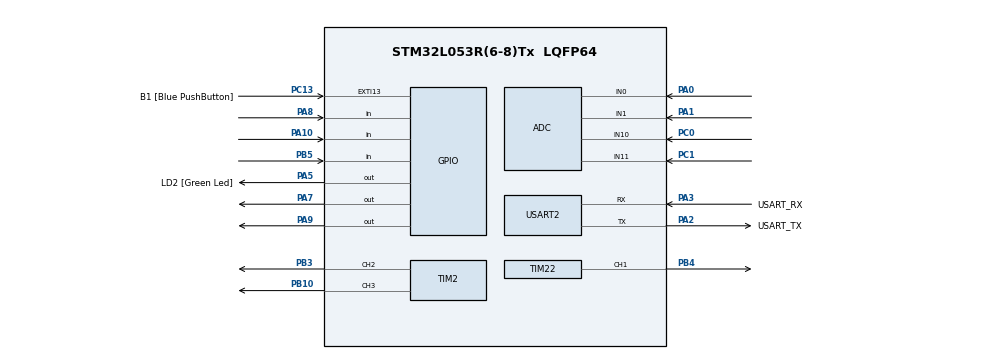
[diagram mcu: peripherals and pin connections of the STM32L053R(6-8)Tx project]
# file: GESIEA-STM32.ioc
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Mcu.Family=STM32L0
Mcu.Name=STM32L053R(6-8)Tx
Mcu.Package=LQFP64
NVIC.EXTI4_15_IRQn=true\:0\:0\:false\:false\:true\:true\:true\:true
NVIC.USART2_IRQn=true\:0\:0\:false\:false\:true\:true\:true\:true
PA0.Signal=SharedAnalog_PA0
PA1.Signal=SharedAnalog_PA1
PA10.Signal=GPIO_Input
PA13.GPIO_Label=TMS
PA13.Mode=Serial_Wire
PA13.Signal=SYS_SWDIO
PA14.GPIO_Label=TCK
PA14.Mode=Serial_Wire
PA14.Signal=SYS_SWCLK
PA2.GPIO_Label=USART_TX
PA2.Mode=Asynchronous
PA2.Signal=USART2_TX
PA3.GPIO_Label=USART_RX
PA3.Mode=Asynchronous
PA3.Signal=USART2_RX
PA5.GPIO_Label=LD2 [Green Led]
PA5.Signal=GPIO_Output
PA7.Signal=GPIO_Output
PA8.Signal=GPIO_Input
PA9.Signal=GPIO_Output
PB10.Signal=S_TIM2_CH3
PB3.Signal=S_TIM2_CH2
PB4.Signal=S_TIM22_CH1
PB5.Signal=GPIO_Input
PC0.Signal=SharedAnalog_PC0
PC1.Signal=SharedAnalog_PC1
PC13.GPIO_Label=B1 [Blue PushButton]
PC13.GPIO_ModeDefaultEXTI=GPIO_MODE_IT_FALLING
PC13.Signal=GPXTI13
PC14-OSC32_IN.Mode=LSE-External-Oscillator
PC14-OSC32_IN.Signal=RCC_OSC32_IN
PC15-OSC32_OUT.Mode=LSE-External-Oscillator
PC15-OSC32_OUT.Signal=RCC_OSC32_OUT
PH0-OSC_IN.Mode=HSE-External-Clock-Source
PH0-OSC_IN.Signal=RCC_OSC_IN
PH1-OSC_OUT.Signal=RCC_OSC_OUT
ProjectManager.HeapSize=0x200
ProjectManager.StackSize=0x400
ProjectManager.TargetToolchain=STM32CubeIDE
RCC.AHBFreq_Value=16000000
RCC.APB1Freq_Value=16000000
RCC.APB1TimFreq_Value=16000000
RCC.APB2Freq_Value=16000000
RCC.APB2TimFreq_Value=16000000
RCC.HCLKFreq_Value=16000000
RCC.HSE_VALUE=8000000
RCC.HSI16_VALUE=16000000
RCC.HSI48_VALUE=48000000
RCC.HSI_VALUE=16000000
RCC.MSI_VALUE=2097000
RCC.SYSCLKFreq_VALUE=16000000
RCC.SYSCLKSource=RCC_SYSCLKSOURCE_HSI
RCC.VCOOutputFreq_Value=48000000
SH.S_TIM22_CH1.0=TIM22_CH1,PWM Generation1 CH1
SH.S_TIM2_CH2.0=TIM2_CH2,PWM Generation2 CH2
SH.S_TIM2_CH3.0=TIM2_CH3,PWM Generation3 CH3
SH.SharedAnalog_PA0.0=GPIO_Analog
SH.SharedAnalog_PA0.1=ADC_IN0,IN0
SH.SharedAnalog_PA1.0=GPIO_Analog
SH.SharedAnalog_PA1.1=ADC_IN1,IN1
SH.SharedAnalog_PC0.0=GPIO_Analog
SH.SharedAnalog_PC0.1=ADC_IN10,IN10
SH.SharedAnalog_PC1.0=GPIO_Analog
SH.SharedAnalog_PC1.1=ADC_IN11,IN11
TIM2.Channel-PWM\ Generation2\ CH2=TIM_CHANNEL_2
TIM2.Channel-PWM\ Generation3\ CH3=TIM_CHANNEL_3
TIM22.Channel-PWM\ Generation1\ CH1=TIM_CHANNEL_1
USART2.VirtualMode-Asynchronous=VM_ASYNC
board=NUCLEO-L053R8

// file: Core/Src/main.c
/* USER CODE BEGIN Header */
/**
  ******************************************************************************
  * @file           : main.c
  * @brief          : Main program body
  ******************************************************************************
  * @attention
  *
  * Copyright (c) 2025 STMicroelectronics.
  * All rights reserved.
  *
  * This software is licensed under terms that can be found in the LICENSE file
  * in the root directory of this software component.
  * If no LICENSE file comes with this software, it is provided AS-IS.
  *
  ******************************************************************************
  */
/* USER CODE END Header */
#include "main.h"
#include "adc.h"
#include "tim.h"
#include "usart.h"
#include "gpio.h"

/* USER CODE BEGIN Includes */
#include "gesiea.h"
#include <stdio.h>
#include <stdlib.h>
#include <string.h>
/* USER CODE END Includes */

/* USER CODE BEGIN PTD */
/**
 * @brief Structure représentant une note musicale.
 */
typedef struct {
    uint32_t frequency;    /**< Fréquence en Hz */
} Note;

/**
 * @brief Structure pour gérer une mélodie en lecture non-bloquante.
 *
 * Cette structure permet de jouer des mélodies sans bloquer l'exécution
 * du programme principal, idéal pour un système temps réel.
 */
typedef struct {
    Note* melody;              /**< Tableau de notes pour la mélodie */
    size_t length;             /**< Longueur de la mélodie */
    size_t currentIndex;       /**< Index de la note en cours */
    uint32_t channels;         /**< Canaux sur lesquels jouer */
    TIM_TypeDef *timer;        /**< Timer à utiliser */
    uint8_t isPlaying;         /**< Indique si une mélodie est en cours */
    uint8_t loopMode;          /**< Indique si la mélodie doit être jouée en boucle */
    uint32_t currentFrequency; /**< Fréquence actuellement jouée */
    uint8_t continuePlaying;   /**< Indique si on doit continuer à jouer sans coupure */
} MelodyPlayer;

/**
 * @brief Structure pour la gestion des LED de victoire.
 *
 * Permet de gérer l'allumage, l'extinction et le clignotement des LED
 * pour indiquer les points marqués et la victoire.
 */
typedef struct {
    GPIO_TypeDef *gpio;     /**< Port GPIO */
    uint32_t pin;           /**< Pin de la LED */
    uint32_t duration;      /**< Durée d'allumage en ticks (4Hz) */
    uint32_t counter;       /**< Compteur de ticks */
    uint8_t isActive;       /**< Indique si la LED est active */
    uint8_t blinkMode;      /**< Indique si la LED doit clignoter */
    uint32_t blinkPeriod;   /**< Période de clignotement en ticks */
    uint8_t blinkState;     /**< État actuel du clignotement (1=allumé, 0=éteint) */
    uint8_t infiniteMode;   /**< Mode infini (1=infini, 0=durée limitée) */
} LEDPlayer;

/**
 * @brief Structure pour le status du jeu.
 *
 * Cette structure contient toutes les données du jeu : positions des raquettes et de la balle,
 * scores, état du jeu, dimensions du terrain, etc.
 */
typedef struct {
    uint16_t grid_width;               /**< Largeur de la grille de jeu */
    uint16_t grid_height;              /**< Hauteur de la grille de jeu */
    uint16_t ball_x;                   /**< Position X de la balle */
    uint16_t ball_y;                   /**< Position Y de la balle */
    int8_t ball_dx;                    /**< Vitesse horizontale de la balle */
    int8_t ball_dy;                    /**< Vitesse verticale de la balle */
    uint8_t initial_ball_velocity;     /**< Vitesse initiale de la balle */
    uint16_t paddle_left_x;            /**< Position X de la raquette gauche */
    uint16_t paddle_left_y;            /**< Position Y de la raquette gauche */
    uint16_t paddle_right_x;           /**< Position X de la raquette droite */
    uint16_t paddle_right_y;           /**< Position Y de la raquette droite */
    uint8_t paddle_left_size;          /**< Taille de la raquette gauche */
    uint8_t paddle_right_size;         /**< Taille de la raquette droite */
    uint8_t paddle_width;              /**< Largeur des raquettes */
    uint8_t ball_size;                 /**< Taille de la balle */
    uint8_t paddle_speed;              /**< Vitesse des raquettes */
    uint8_t status;                    /**< Statut du jeu (NONE, RUNNING, PAUSED, FINISHED) */
    uint8_t max_points;                /**< Nombre de points nécessaires pour gagner */
    uint8_t player1_points;            /**< Points du joueur 1 */
    uint8_t player2_points;            /**< Points du joueur 2 */
    uint16_t left_zone_width;          /**< Largeur de la zone du joueur gauche */
    uint16_t right_zone_width;         /**< Largeur de la zone du joueur droit */
    uint8_t player1_button_state;      /**< État actuel du bouton du joueur 1 */
    uint8_t player1_prev_button_state; /**< État précédent du bouton du joueur 1 */
    uint8_t player1_boost_ready;       /**< Indique si le boost du joueur 1 est prêt */
    uint8_t player1_boost_counter;     /**< Compteur pour le joueur 1 */
    uint8_t player2_button_state;      /**< État actuel du bouton du joueur 2 */
    uint8_t player2_prev_button_state; /**< État précédent du bouton du joueur 2 */
    uint8_t player2_boost_ready;       /**< Indique si le boost du joueur 2 est prêt */
    uint8_t player2_boost_counter;     /**< Compteur pour le joueur 2 */
    uint8_t boost_window;              /**< Fenêtre de temps pour le boost (en ticks) */
    uint8_t boost_factor;              /**< Facteur de boost (en pourcentage) */
    uint16_t tick;                     /**< Compteur de ticks pour le jeu */
} Game;
/* USER CODE END PTD */

/* USER CODE BEGIN PD */
/* Fréquences des notes musicales (en Hz) */
#define NOTE_G3  196.00  /**< Sol3 */
#define NOTE_GS3 207.65  /**< Sol#3/La♭3 */
#define NOTE_A3  220.00  /**< La3 */
#define NOTE_AS3 233.08  /**< La#3/Si♭3 */
#define NOTE_B3  246.94  /**< Si3 */
#define NOTE_C4  261.63  /**< Do4 */
#define NOTE_CS4 277.18  /**< Do#4/Ré♭4 */
#define NOTE_D4  293.66  /**< Ré4 */
#define NOTE_DS4 311.13  /**< Ré#4/Mi♭4 */
#define NOTE_E4  329.63  /**< Mi4 */
#define NOTE_F4  349.23  /**< Fa4 */
#define NOTE_FS4 369.99  /**< Fa#4/Sol♭4 */
#define NOTE_G4  392.00  /**< Sol4 */
#define NOTE_GS4 415.30  /**< Sol#4/La♭4 */
#define NOTE_A4  440.00  /**< La4 */
#define NOTE_AS4 466.16  /**< La#4/Si♭4 */
#define NOTE_B4  493.88  /**< Si4 */
#define NOTE_C5  523.25  /**< Do5 */
#define NOTE_CS5 554.37  /**< Do#5/Ré♭5 */
#define NOTE_D5  587.33  /**< Ré5 */
#define NOTE_DS5 622.25  /**< Ré#5/Mi♭5 */
#define NOTE_E5  659.25  /**< Mi5 */
#define NOTE_F5  698.46  /**< Fa5 */
#define NOTE_FS5 739.99  /**< Fa#5/Sol♭5 */
#define NOTE_G5  783.99  /**< Sol5 */
#define NOTE_GS5 830.61  /**< Sol#5/La♭5 */
#define NOTE_A5  880.00  /**< La5 */
#define NOTE_AS5 932.33  /**< La#5/Si♭5 */
#define NOTE_B5  987.77  /**< Si5 */
#define NOTE_C6  1046.50 /**< Do6 */
#define NOTE_CS6 1108.73 /**< Do#6/Ré♭6 */
#define NOTE_D6  1174.66 /**< Ré6 */
#define NOTE_DS6 1244.51 /**< Ré#6/Mi♭6 */
#define NOTE_E6  1318.51 /**< Mi6 */

/* Status du jeu */
#define GAME_STATUS_NONE 0     /**< Aucun jeu en cours */
#define GAME_STATUS_RUNNING 1  /**< Jeu en cours */
#define GAME_STATUS_PAUSED 2   /**< Jeu en pause */
#define GAME_STATUS_FINISHED 3 /**< Jeu terminé */

/* Définitions des broches et périphériques */
#define MUSIC_TIM TIM22                         /**< Timer pour la musique */
#define MUSIC_CHANNEL LL_TIM_CHANNEL_CH1        /**< Canal pour la musique */
#define BUZZER_TIM TIM2                         /**< Timer pour les buzzers des joueurs */
#define BUZZER_CHANNEL_P1 LL_TIM_CHANNEL_CH3    /**< Canal pour le buzzer du joueur 1 */
#define BUZZER_CHANNEL_P2 LL_TIM_CHANNEL_CH2    /**< Canal pour le buzzer du joueur 2 */
#define LED_GPIO GPIOA                          /**< Port GPIO pour les LED */
#define LED_PIN_P1_VICTORY LL_GPIO_PIN_7        /**< Broche pour la LED de victoire du joueur 1 */
#define LED_PIN_P2_VICTORY LL_GPIO_PIN_9        /**< Broche pour la LED de victoire du joueur 2 */
#define BUTTON_GPIO GPIOA                       /**< Port GPIO pour les boutons */
#define BUTTON_PIN_P1 LL_GPIO_PIN_8             /**< Broche pour le bouton du joueur 1 */
#define BUTTON_PIN_P2 LL_GPIO_PIN_10            /**< Broche pour le bouton du joueur 2 */
#define JOYSTICK_ADC ADC1                       /**< ADC pour les joysticks */
#define JOYSTICK_X_CHANNEL_P1 LL_ADC_CHANNEL_0  /**< Canal pour l'axe X du joystick du joueur 1 */
#define JOYSTICK_Y_CHANNEL_P1 LL_ADC_CHANNEL_1  /**< Canal pour l'axe Y du joystick du joueur 1 */
#define JOYSTICK_X_CHANNEL_P2 LL_ADC_CHANNEL_10 /**< Canal pour l'axe X du joystick du joueur 2 */
#define JOYSTICK_Y_CHANNEL_P2 LL_ADC_CHANNEL_11 /**< Canal pour l'axe Y du joystick du joueur 2 */

/* Définir des limites pour la vitesse verticale de la balle */
#define MAX_VERTICAL_SPEED 6  /* Vitesse verticale maximale (valeur absolue) */
/* USER CODE END PD */

/* USER CODE BEGIN PV */
/* Mélodies pour les buzzers et la musique */
Note init_melody[] = {
    {NOTE_G4}, {NOTE_G4}, {NOTE_C5}, {NOTE_C5},
    {NOTE_E5}, {NOTE_E5}, {NOTE_G5}, {NOTE_G5},
    {NOTE_E5}, {NOTE_E5}, {NOTE_C5}, {NOTE_C5}
};                                                                          /**< Mélodie de démarrage */
size_t init_length = sizeof(init_melody) / sizeof(Note);                    /**< Longueur de la mélodie */

Note connection_melody[] = {
    {NOTE_C4}, {NOTE_C4}, {NOTE_E4}, {NOTE_E4},
    {NOTE_G4}, {NOTE_G4}, {NOTE_C5}, {NOTE_C5},
    {NOTE_G4}, {NOTE_G4}, {NOTE_E4}, {NOTE_E4},
    {NOTE_C4}, {NOTE_E4}, {NOTE_G4}, {NOTE_C5}
};                                                                         /**< Mélodie de connexion */
size_t connection_length = sizeof(connection_melody) / sizeof(Note);       /**< Longueur de la mélodie */

Note disconnection_melody[] = {
    {NOTE_C5}, {NOTE_C5}, {NOTE_A4}, {NOTE_A4},
    {NOTE_F4}, {NOTE_F4}, {NOTE_D4}, {NOTE_D4},
    {NOTE_C4}, {NOTE_C4}, {0}, {0}
};                                                                         /**< Mélodie de déconnexion */
size_t disconnection_length = sizeof(disconnection_melody) / sizeof(Note); /**< Longueur de la mélodie */

Note game_start_melody[] = {
    {NOTE_E4}, {NOTE_E4}, {NOTE_G4}, {NOTE_G4},
    {NOTE_A4}, {NOTE_A4}, {NOTE_C5}, {NOTE_C5},
    {NOTE_B4}, {NOTE_A4}, {NOTE_G4}, {NOTE_E4},
    {NOTE_G4}, {NOTE_G4}, {NOTE_C5}, {NOTE_C5}
};                                                                         /**< Mélodie de début de jeu */
size_t game_start_length = sizeof(game_start_melody) / sizeof(Note);       /**< Longueur de la mélodie */

Note pause_melody[] = {
    {NOTE_E5}, {NOTE_E5}, {NOTE_C5}, {NOTE_C5},
    {NOTE_A4}, {NOTE_A4}, {NOTE_E4}, {NOTE_E4},
    {NOTE_C4}, {NOTE_C4}, {0}, {0}
};                                                                         /**< Mélodie de pause */
size_t pause_length = sizeof(pause_melody) / sizeof(Note);                 /**< Longueur de la mélodie */

Note resume_melody[] = {
    {NOTE_C4}, {NOTE_C4}, {NOTE_E4}, {NOTE_E4},
    {NOTE_G4}, {NOTE_G4}, {NOTE_C5}, {NOTE_C5},
    {NOTE_E5}, {NOTE_E5}, {NOTE_G5}, {NOTE_G5}
};                                                                         /**< Mélodie de reprise */
size_t resume_length = sizeof(resume_melody) / sizeof(Note);               /**< Longueur de la mélodie */

Note hit_sound[] = {
    {NOTE_A4}, {NOTE_E5}, {NOTE_A4}, {0}
};                                                                         /**< Son de collision */
size_t hit_length = sizeof(hit_sound) / sizeof(Note);                      /**< Longueur du son */

Note boost_sound[] = {
    {NOTE_E5}, {NOTE_G5}, {NOTE_C6}, {NOTE_G5}, {NOTE_E6}
};                                                                         /**< Son de boost */
size_t boost_sound_length = sizeof(boost_sound) / sizeof(Note);            /**< Longueur du son */

Note victory_melody[] = {
    {NOTE_C5}, {NOTE_C5}, {NOTE_G4}, {NOTE_G4},
    {NOTE_C5}, {NOTE_C5}, {NOTE_E5}, {NOTE_E5},
    {NOTE_G5}, {NOTE_G5}, {NOTE_G5}, {NOTE_G5},
    {NOTE_E5}, {NOTE_C5}, {NOTE_G4}, {NOTE_C5},
    {NOTE_C5}, {NOTE_C5}, {0}, {0}
};                                                                         /**< Mélodie de victoire */
size_t victory_length = sizeof(victory_melody) / sizeof(Note);             /**< Longueur de la mélodie */

Note defeat_melody[] = {
    {NOTE_C5}, {NOTE_C5}, {NOTE_G4}, {NOTE_G4},
    {NOTE_E4}, {NOTE_E4}, {NOTE_C4}, {NOTE_C4},
    {NOTE_B3}, {NOTE_B3}, {NOTE_G3}, {NOTE_G3},
    {NOTE_G3}, {0}, {0}, {0}
};                                                                         /**< Mélodie de défaite */
size_t defeat_length = sizeof(defeat_melody) / sizeof(Note);               /**< Longueur de la mélodie */

Note background_melody[] = {
    // Partie 1: thème principal
    {NOTE_C4}, {NOTE_C4}, {NOTE_E4}, {NOTE_E4}, {NOTE_G4}, {NOTE_G4}, {NOTE_C5}, {NOTE_C5},
    {NOTE_G4}, {NOTE_G4}, {NOTE_E4}, {NOTE_E4}, {NOTE_C4}, {NOTE_C4}, {NOTE_E4}, {NOTE_G4},

    // Partie 2: variation
    {NOTE_D4}, {NOTE_D4}, {NOTE_F4}, {NOTE_F4}, {NOTE_A4}, {NOTE_A4}, {NOTE_D5}, {NOTE_D5},
    {NOTE_A4}, {NOTE_A4}, {NOTE_F4}, {NOTE_F4}, {NOTE_D4}, {NOTE_D4}, {NOTE_F4}, {NOTE_A4},

    // Partie 3: montée
    {NOTE_E4}, {NOTE_E4}, {NOTE_G4}, {NOTE_G4}, {NOTE_B4}, {NOTE_B4}, {NOTE_E5}, {NOTE_E5},
    {NOTE_B4}, {NOTE_B4}, {NOTE_G4}, {NOTE_G4}, {NOTE_E4}, {NOTE_E4}, {NOTE_G4}, {NOTE_B4},

    // Partie 4: finale
    {NOTE_C5}, {NOTE_C5}, {NOTE_A4}, {NOTE_A4}, {NOTE_F4}, {NOTE_F4}, {NOTE_D4}, {NOTE_D4},
    {NOTE_E4}, {NOTE_E4}, {NOTE_G4}, {NOTE_G4}, {NOTE_C5}, {NOTE_C5}, {NOTE_G4}, {NOTE_E4}
};                                                                         /**< Mélodie de fond */
size_t background_length = sizeof(background_melody) / sizeof(Note);       /**< Longueur de la mélodie */

/* Variables pour les players de mélodies */
MelodyPlayer buzzer1Player = {0};    /**< Player pour le buzzer 1 */
MelodyPlayer buzzer2Player = {0};    /**< Player pour le buzzer 2 */
MelodyPlayer backgroundPlayer = {0}; /**< Player pour la musique de fond */

/* Variables pour les players de LED */
LEDPlayer led1Player = {0}; /**< Player pour la LED de victoire du joueur 1 */
LEDPlayer led2Player = {0}; /**< Player pour la LED de victoire du joueur 2 */

/* Variables pour le jeu */
Game game =	{0}; /**< Status du jeu */
/* USER CODE END PV */

void SystemClock_Config(void);

/* USER CODE BEGIN 0 */
/**
 * @brief Redirection de printf vers l'UART2.
 *
 * Cette fonction est appelée par les fonctions printf et permet
 * de rediriger la sortie vers l'UART2.
 *
 * @param ch Caractère à envoyer
 * @return Le caractère envoyé
 */
int __io_putchar(int ch) {
    // Attendre que le buffer de transmission soit vide
    while (!LL_USART_IsActiveFlag_TXE(USART2));

    // Envoyer le caractère
    LL_USART_TransmitData8(USART2, ch);

    return ch;
}

/**
 * @brief Fonction d'écriture pour stdio.h.
 *
 * Implémentation de la fonction _write utilisée par stdio.h
 * pour la sortie standard.
 *
 * @param file Descripteur de fichier (non utilisé)
 * @param ptr Pointeur vers les données à écrire
 * @param len Longueur des données
 * @return Nombre d'octets écrits
 */
int _write(int file, char *ptr, int len) {
    int i;
    for (i = 0; i < len; i++) {
        __io_putchar(*ptr++);
    }
    return len;
}

/**
 * @brief Lit une valeur depuis une entrée analogique.
 *
 * @param ADCx Périphérique ADC à utiliser
 * @param Channel Canal ADC à lire
 * @return Valeur lue (0-4095)
 */
uint16_t Read_ADC_Value(ADC_TypeDef *ADCx, uint32_t Channel) {
	// Sélectionner le canal
	LL_ADC_REG_SetSequencerChannels(ADCx, Channel);
	// Démarrer la conversion
	LL_ADC_REG_StartConversion(ADCx);
	// Attendre la fin de la conversion
	while (!LL_ADC_IsActiveFlag_EOC(ADCx));
	// Lire la valeur
	uint16_t value = LL_ADC_REG_ReadConversionData12(ADCx);
	// Effacer le flag de fin de conversion
	LL_ADC_ClearFlag_EOC(ADCx);
	return value;
}

/**
 * @brief Génère un nombre pseudo-aléatoire avec entropie améliorée.
 *
 * Utilise les sources d'entropie matérielles (ADC, timers) et un
 * algorithme amélioré pour une meilleure distribution des valeurs aléatoires.
 *
 * @return Nombre aléatoire généré
 */
uint32_t get_random_number()
{
    static uint32_t seed = 0;
    static uint8_t initialized = 0;

    // Initialiser la graine avec diverses sources d'entropie au premier appel
    if (!initialized) {
        // Ajouter de l'entropie avec les valeurs des joysticks
        seed ^= Read_ADC_Value(JOYSTICK_ADC, JOYSTICK_X_CHANNEL_P1);
        seed ^= Read_ADC_Value(JOYSTICK_ADC, JOYSTICK_Y_CHANNEL_P1) << 8;
        seed ^= Read_ADC_Value(JOYSTICK_ADC, JOYSTICK_X_CHANNEL_P2) << 16;
        seed ^= Read_ADC_Value(JOYSTICK_ADC, JOYSTICK_Y_CHANNEL_P2) << 24;

        // Ajouter les valeurs des timers
        seed ^= LL_TIM_GetCounter(TIM2);
        seed ^= LL_TIM_GetCounter(TIM22) << 8;

        // Éviter la valeur zéro
        if (seed == 0) seed = 0x12345678;

        initialized = 1;
    }

    // Algorithme amélioré (combinaison d'un LCG avec des opérations XOR)
    seed = (seed * 1103515245 + 12345) & 0x7FFFFFFF;

    // Appliquer une transformation supplémentaire pour améliorer la distribution
    seed ^= seed << 13;
    seed ^= seed >> 17;
    seed ^= seed << 5;

    return seed;
}

/**
 * @brief Génère un nombre aléatoire dans une plage donnée.
 *
 * @param min Valeur minimale (incluse)
 * @param max Valeur maximale (incluse)
 * @return Nombre aléatoire dans la plage [min, max]
 */
uint32_t get_random_number_range(uint32_t min, uint32_t max)
{
    return min + (get_random_number() % (max - min + 1));
}

/**
 * @brief Configure la fréquence d'un buzzer.
 *
 * @param TIMx Timer à utiliser
 * @param Channels Canaux du timer à configurer
 * @param frequency Fréquence en Hz (0 pour désactiver)
 */
void Set_Buzzer_Frequency(TIM_TypeDef *TIMx, uint32_t Channels, uint32_t frequency) {
    if (frequency == 0) {
        LL_TIM_CC_DisableChannel(TIMx, Channels);
        return;
    }
    LL_TIM_CC_EnableChannel(TIMx, Channels);
    uint32_t timer_clock = 16000000; // Fréquence du timer (16 MHz)
    uint32_t arr_value = (timer_clock / frequency) - 1;
    LL_TIM_SetAutoReload(TIMx, arr_value);
    //LL_TIM_OC_SetCompareCH2(TIMx, arr_value / 2); // Rapport cyclique de 50%
    // Lire sur les bons channels en fonction de Channels qui peut être LL_TIM_CHANNEL_CH1 ou LL_TIM_CHANNEL_CH2 ou bien une combinaison de plusieurs (comparer Channels avec les masques (constantes LL_TIM_CHANNEL_CH1 et LL_TIM_CHANNEL_CH2))
    if (Channels & LL_TIM_CHANNEL_CH1) {
		LL_TIM_OC_SetCompareCH1(TIMx, arr_value / 2);
	}
	if (Channels & LL_TIM_CHANNEL_CH2) {
		LL_TIM_OC_SetCompareCH2(TIMx, arr_value / 2);
	}
	if (Channels & LL_TIM_CHANNEL_CH3) {
		LL_TIM_OC_SetCompareCH3(TIMx, arr_value / 2);
	}
	if (Channels & LL_TIM_CHANNEL_CH4) {
		LL_TIM_OC_SetCompareCH4(TIMx, arr_value / 2);
	}
}

/**
 * @brief Démarre la lecture d'une mélodie.
 *
 * @param player Pointeur vers la structure MelodyPlayer
 * @param TIMx Timer à utiliser
 * @param Channels Canaux du timer
 * @param melody Tableau de notes à jouer
 * @param length Longueur de la mélodie
 * @param loop Mode boucle (1=actif, 0=inactif)
 */
void Start_Melody(MelodyPlayer *player, TIM_TypeDef *TIMx, uint32_t Channels, Note* melody, size_t length, uint8_t loop) {
    // Si une mélodie est déjà en cours sur ce player, l'arrêter
    if (player->isPlaying) {
        Set_Buzzer_Frequency(player->timer, player->channels, 0);
    }

    // Configurer la nouvelle mélodie
    player->melody = melody;
    player->length = length;
    player->currentIndex = 0;
    player->channels = Channels;
    player->timer = TIMx;
    player->isPlaying = 1;
    player->loopMode = loop;
    player->currentFrequency = 0;
    player->continuePlaying = 0;

    // La note sera jouée au prochain appel à Update_Sound
}

/**
 * @brief Arrête la lecture d'une mélodie.
 *
 * @param player Pointeur vers la structure MelodyPlayer
 */
void Stop_Melody(MelodyPlayer *player) {
    if (player->isPlaying) {
        Set_Buzzer_Frequency(player->timer, player->channels, 0);
        player->isPlaying = 0;
    }
}

/**
 * @brief Joue un son sur le buzzer du joueur 1.
 *
 * @param melody Tableau de notes à jouer
 * @param length Longueur de la mélodie
 */
void Play_Sound_P1(Note* melody, size_t length) {
    Start_Melody(&buzzer1Player, BUZZER_TIM, BUZZER_CHANNEL_P1, melody, length, 0);
}

/**
 * @brief Joue un son sur le buzzer du joueur 2.
 *
 * @param melody Tableau de notes à jouer
 * @param length Longueur de la mélodie
 */
void Play_Sound_P2(Note* melody, size_t length) {
    Start_Melody(&buzzer2Player, BUZZER_TIM, BUZZER_CHANNEL_P2, melody, length, 0);
}

/**
 * @brief Joue un son sur les deux buzzers.
 *
 * @param melody Tableau de notes à jouer
 * @param length Longueur de la mélodie
 */
void Play_Sound(Note* melody, size_t length) {
    Play_Sound_P1(melody, length);
    Play_Sound_P2(melody, length);
}

/**
 * @brief Démarre la musique de fond.
 *
 * @param melody Tableau de notes à jouer
 * @param length Longueur de la mélodie
 */
void Start_Music(Note* melody, size_t length) {
    Start_Melody(&backgroundPlayer, MUSIC_TIM, MUSIC_CHANNEL, melody, length, 1);
}

/**
 * @brief Arrête la musique de fond.
 */
void Stop_Music() {
    Stop_Melody(&backgroundPlayer);
}

/**
 * @brief Reprend la lecture de la musique de fond.
 */
void Resume_Music() {
	backgroundPlayer.isPlaying = 1;
}

/**
 * @brief Met à jour les sons - appelée périodiquement.
 *
 * Cette fonction est appelée toutes les 125ms par le timer système
 * pour mettre à jour la lecture des mélodies.
 */
void Update_Sound() {
    // Mise à jour du buzzer 1
    if (buzzer1Player.isPlaying) {
        // Jouer la note actuelle
        if (buzzer1Player.currentIndex < buzzer1Player.length) {
            Note currentNote = buzzer1Player.melody[buzzer1Player.currentIndex];

            // Vérifier si la prochaine note est la même que l'actuelle
            uint8_t skipSilence = 0;
            if (buzzer1Player.currentIndex + 1 < buzzer1Player.length) {
                Note nextNote = buzzer1Player.melody[buzzer1Player.currentIndex + 1];
                if (nextNote.frequency == currentNote.frequency && currentNote.frequency != 0) {
                    skipSilence = 1;
                }
            }

            // Sauvegarder la fréquence actuelle
            buzzer1Player.currentFrequency = currentNote.frequency;
            buzzer1Player.continuePlaying = skipSilence;

            // Jouer la note (seulement si différente de la précédente ou après un silence)
            Set_Buzzer_Frequency(buzzer1Player.timer, buzzer1Player.channels, currentNote.frequency);

            buzzer1Player.currentIndex++;

            // Vérifier si nous avons atteint la fin de la mélodie
            if (buzzer1Player.currentIndex >= buzzer1Player.length) {
                if (!buzzer1Player.loopMode) {
                    // Marquer comme terminé
                    buzzer1Player.isPlaying = 0;
                } else {
                    // Boucler au début
                    buzzer1Player.currentIndex = 0;
                }
            }
        }
    }

    // Mise à jour du buzzer 2 (même logique)
    if (buzzer2Player.isPlaying) {
        if (buzzer2Player.currentIndex < buzzer2Player.length) {
            Note currentNote = buzzer2Player.melody[buzzer2Player.currentIndex];

            // Vérifier si la prochaine note est la même que l'actuelle
            uint8_t skipSilence = 0;
            if (buzzer2Player.currentIndex + 1 < buzzer2Player.length) {
                Note nextNote = buzzer2Player.melody[buzzer2Player.currentIndex + 1];
                if (nextNote.frequency == currentNote.frequency && currentNote.frequency != 0) {
                    skipSilence = 1;
                }
            }

            // Sauvegarder la fréquence actuelle
            buzzer2Player.currentFrequency = currentNote.frequency;
            buzzer2Player.continuePlaying = skipSilence;

            // Jouer la note
            Set_Buzzer_Frequency(buzzer2Player.timer, buzzer2Player.channels, currentNote.frequency);

            buzzer2Player.currentIndex++;

            // Vérifier si nous avons atteint la fin de la mélodie
            if (buzzer2Player.currentIndex >= buzzer2Player.length) {
                if (!buzzer2Player.loopMode) {
                    buzzer2Player.isPlaying = 0;
                } else {
                    buzzer2Player.currentIndex = 0;
                }
            }
        }
    }

    // Mise à jour de la musique de fond (même logique)
    if (backgroundPlayer.isPlaying) {
        if (backgroundPlayer.currentIndex < backgroundPlayer.length) {
            Note currentNote = backgroundPlayer.melody[backgroundPlayer.currentIndex];

            // Vérifier si la prochaine note est la même que l'actuelle
            uint8_t skipSilence = 0;
            if (backgroundPlayer.currentIndex + 1 < backgroundPlayer.length) {
                Note nextNote = backgroundPlayer.melody[backgroundPlayer.currentIndex + 1];
                if (nextNote.frequency == currentNote.frequency && currentNote.frequency != 0) {
                    skipSilence = 1;
                }
            } else if (backgroundPlayer.loopMode && backgroundPlayer.length > 0) {
                // Si on est en mode boucle, vérifier également avec la première note
                Note nextNote = backgroundPlayer.melody[0];
                if (nextNote.frequency == currentNote.frequency && currentNote.frequency != 0) {
                    skipSilence = 1;
                }
            }

            backgroundPlayer.currentFrequency = currentNote.frequency;
            backgroundPlayer.continuePlaying = skipSilence;

            Set_Buzzer_Frequency(backgroundPlayer.timer, backgroundPlayer.channels, currentNote.frequency);

            backgroundPlayer.currentIndex++;

            if (backgroundPlayer.currentIndex >= backgroundPlayer.length) {
                if (backgroundPlayer.loopMode) {
                    backgroundPlayer.currentIndex = 0;
                } else {
                    backgroundPlayer.isPlaying = 0;
                }
            }
        }
    }
}

/**
 * @brief Arrête les sons - appelée après Update_Sound.
 *
 * Cette fonction est appelée 25ms après Update_Sound pour
 * couper les sons si nécessaire (gestion de la durée des notes).
 */
void Stop_Sound() {
    // Ne couper le son que si on ne doit pas continuer à jouer la même note
    if (buzzer1Player.isPlaying) {
        if (!buzzer1Player.continuePlaying) {
            Set_Buzzer_Frequency(buzzer1Player.timer, buzzer1Player.channels, 0);
        }
    } else if (buzzer1Player.currentIndex >= buzzer1Player.length && !buzzer1Player.loopMode) {
        // Si la mélodie vient de se terminer, s'assurer que le son est arrêté
        Set_Buzzer_Frequency(buzzer1Player.timer, buzzer1Player.channels, 0);
    }

    if (buzzer2Player.isPlaying) {
        if (!buzzer2Player.continuePlaying) {
            Set_Buzzer_Frequency(buzzer2Player.timer, buzzer2Player.channels, 0);
        }
    } else if (buzzer2Player.currentIndex >= buzzer2Player.length && !buzzer2Player.loopMode) {
        Set_Buzzer_Frequency(buzzer2Player.timer, buzzer2Player.channels, 0);
    }

    if (backgroundPlayer.isPlaying) {
        if (!backgroundPlayer.continuePlaying) {
            Set_Buzzer_Frequency(backgroundPlayer.timer, backgroundPlayer.channels, 0);
        }
    } else if (backgroundPlayer.currentIndex >= backgroundPlayer.length && !backgroundPlayer.loopMode) {
        Set_Buzzer_Frequency(backgroundPlayer.timer, backgroundPlayer.channels, 0);
    }
}

/**
 * @brief Démarre l'allumage d'une LED.
 *
 * @param player Pointeur vers la structure LEDPlayer
 * @param GPIOx Port GPIO
 * @param Pin Broche GPIO
 * @param duration Durée d'allumage en ticks
 * @param blinkMode Mode clignotement (1=actif, 0=inactif)
 * @param blinkPeriod Période de clignotement en ticks
 * @param infiniteMode Mode infini (1=actif, 0=inactif)
 */
void Start_LED(LEDPlayer *player, GPIO_TypeDef *GPIOx, uint32_t Pin,
               uint32_t duration, uint8_t blinkMode, uint32_t blinkPeriod,
               uint8_t infiniteMode) {
    // Configuration des paramètres du LEDPlayer
    player->gpio = GPIOx;
    player->pin = Pin;
    player->duration = duration;
    player->counter = 0;
    player->isActive = 1;
    player->blinkMode = blinkMode;
    player->blinkPeriod = blinkPeriod;
    player->blinkState = 1; // Commencer allumé
    player->infiniteMode = infiniteMode; // Nouveau paramètre

    // Allumer la LED immédiatement
    LL_GPIO_SetOutputPin(GPIOx, Pin);
}

/**
 * @brief Arrête l'allumage d'une LED.
 *
 * @param player Pointeur vers la structure LEDPlayer
 */
void Stop_LED(LEDPlayer *player) {
    if (player->isActive) {
        // Éteindre la LED
        LL_GPIO_ResetOutputPin(player->gpio, player->pin);
        player->isActive = 0;
    }
}

/**
 * @brief Met à jour l'état des LED - appelée périodiquement.
 *
 * Cette fonction est appelée toutes les 250ms par le timer système
 * pour mettre à jour l'état des LED.
 */
void Update_LEDs() {
    // Mise à jour de la LED du joueur 1
    if (led1Player.isActive) {
        led1Player.counter++;

        // Gestion du clignotement si activé
        if (led1Player.blinkMode) {
            if (led1Player.counter % led1Player.blinkPeriod == 0) {
                // Inverser l'état du clignotement
                led1Player.blinkState = !led1Player.blinkState;

                if (led1Player.blinkState) {
                    LL_GPIO_SetOutputPin(led1Player.gpio, led1Player.pin);
                } else {
                    LL_GPIO_ResetOutputPin(led1Player.gpio, led1Player.pin);
                }
            }
        }

        // Vérifier si la durée est écoulée (sauf en mode infini)
        if (!led1Player.infiniteMode && led1Player.counter >= led1Player.duration) {
            Stop_LED(&led1Player);
        }
    }

    // Mise à jour de la LED du joueur 2 (même logique)
    if (led2Player.isActive) {
        led2Player.counter++;

        // Gestion du clignotement si activé
        if (led2Player.blinkMode) {
            if (led2Player.counter % led2Player.blinkPeriod == 0) {
                // Inverser l'état du clignotement
                led2Player.blinkState = !led2Player.blinkState;

                if (led2Player.blinkState) {
                    LL_GPIO_SetOutputPin(led2Player.gpio, led2Player.pin);
                } else {
                    LL_GPIO_ResetOutputPin(led2Player.gpio, led2Player.pin);
                }
            }
        }

        // Vérifier si la durée est écoulée (sauf en mode infini)
        if (!led2Player.infiniteMode && led2Player.counter >= led2Player.duration) {
            Stop_LED(&led2Player);
        }
    }
}

/**
 * @brief Allume la LED de victoire du joueur 1.
 *
 * @param duration Durée d'allumage en ticks
 * @param blinkMode Mode clignotement (1=actif, 0=inactif)
 * @param blinkPeriod Période de clignotement en ticks
 * @param infiniteMode Mode infini (1=actif, 0=inactif)
 */
void Player1_Victory_LED(uint32_t duration, uint8_t blinkMode, uint32_t blinkPeriod, uint8_t infiniteMode) {
    Start_LED(&led1Player, LED_GPIO, LED_PIN_P1_VICTORY, duration, blinkMode, blinkPeriod, infiniteMode);
}

/**
 * @brief Allume la LED de victoire du joueur 2.
 *
 * @param duration Durée d'allumage en ticks
 * @param blinkMode Mode clignotement (1=actif, 0=inactif)
 * @param blinkPeriod Période de clignotement en ticks
 * @param infiniteMode Mode infini (1=actif, 0=inactif)
 */
void Player2_Victory_LED(uint32_t duration, uint8_t blinkMode, uint32_t blinkPeriod, uint8_t infiniteMode) {
    Start_LED(&led2Player, LED_GPIO, LED_PIN_P2_VICTORY, duration, blinkMode, blinkPeriod, infiniteMode);
}

/**
 * @brief Envoie toutes les données du jeu à l'IHM.
 *
 * Format: "game:all:status,grid_width,grid_height,ball_size,ball_x,ball_y,ball_dx,ball_dy,
 *         paddle_left_x,paddle_left_y,paddle_left_size,paddle_width,
 *         paddle_right_x,paddle_right_y,paddle_right_size,max_points,player1_points,player2_points,
 *         left_zone_width,right_zone_width"
 */
void Send_Game_All_Data() {
    printf("game:all:%d,%d,%d,%d,%d,%d,%d,%d,%d,%d,%d,%d,%d,%d,%d,%d,%d,%d,%d,%d\r\n",
        game.status, game.grid_width, game.grid_height, game.ball_size,
        game.ball_x, game.ball_y, game.ball_dx, game.ball_dy,
        game.paddle_left_x, game.paddle_left_y, game.paddle_left_size, game.paddle_width,
        game.paddle_right_x, game.paddle_right_y, game.paddle_right_size,
        game.max_points, game.player1_points, game.player2_points,
        game.left_zone_width, game.right_zone_width);
}

/**
 * @brief Envoie les données de refresh en cours de jeu à l'IHM.
 *
 * Format: "game:run:status,ball_x,ball_y,ball_dx,ball_dy,ball_size,
 *         paddle_left_x,paddle_left_y,paddle_left_size,paddle_width,
 *         paddle_right_x,paddle_right_y,paddle_right_size,p1points,p2points"
 */
void Send_Game_Run_Data() {
    printf("game:run:%d,%d,%d,%d,%d,%d,%d,%d,%d,%d,%d,%d,%d,%d,%d\r\n",
        game.status, game.ball_x, game.ball_y, game.ball_dx, game.ball_dy, game.ball_size,
        game.paddle_left_x, game.paddle_left_y, game.paddle_left_size, game.paddle_width,
        game.paddle_right_x, game.paddle_right_y, game.paddle_right_size,
        game.player1_points, game.player2_points);
}

/**
 * @brief Limite la vitesse verticale de la balle dans une plage raisonnable.
 *
 * @param ball_dy Vitesse verticale actuelle de la balle
 * @return La vitesse verticale limitée
 */
int8_t Limit_Vertical_Speed(int8_t ball_dy) {
    if (ball_dy > MAX_VERTICAL_SPEED) {
        return MAX_VERTICAL_SPEED;
    } else if (ball_dy < -MAX_VERTICAL_SPEED) {
        return -MAX_VERTICAL_SPEED;
    }
    return ball_dy;
}

/**
 * @brief Démarre une partie.
 *
 * @param width Largeur de la grille
 * @param height Hauteur de la grille
 * @param max_points Points nécessaires pour gagner
 * @param ball_velocity Vitesse de la balle
 * @param ball_size Taille de la balle
 * @param paddle_velocity Vitesse des raquettes
 * @param paddle_size Taille des raquettes
 */
void Start_Game(uint16_t width, uint16_t height, uint8_t max_points, uint8_t ball_velocity, uint8_t ball_size, uint8_t paddle_velocity, uint8_t paddle_size) {
	// Initialiser les dimensions de la grille
	game.grid_width = width;
	game.grid_height = height;

	// Initialiser la taille des raquettes
	game.paddle_left_size = paddle_size;
	game.paddle_right_size = paddle_size;
	game.paddle_width = 8;  // Largeur fixe des raquettes

	// Initialiser la taille de la balle
	game.ball_size = ball_size;

	// Initialiser la vitesse des raquettes
	game.paddle_speed = paddle_velocity;

	// Initialiser les points
	game.max_points = max_points;
	game.player1_points = 0;
	game.player2_points = 0;

	// Initialiser les zones de jeu des joueurs
	game.left_zone_width = width / 4;   // 25% du terrain à gauche
	game.right_zone_width = width / 4;  // 25% du terrain à droite

	// Réinitialiser la position de la balle au centre
	game.ball_x = game.grid_width / 2;
	game.ball_y = game.grid_height / 2;

    // Stocker la vitesse initiale de la balle
    game.initial_ball_velocity = ball_velocity;

	// Déterminer aléatoirement la direction horizontale de la balle
	if (get_random_number_range(0, 1) == 0) {
		game.ball_dx = 2 + ball_velocity;  // Vers la droite
	} else {
		game.ball_dx = -2 - ball_velocity; // Vers la gauche
	}

	// Choisir aléatoirement la vitesse verticale
	uint32_t r = get_random_number_range(0, 2);
	if (r == 0) {
		game.ball_dy = 1 + ball_velocity;  // Vers le bas, lentement
	} else if (r == 1) {
		game.ball_dy = 2 + ball_velocity;  // Vers le bas, rapidement
	} else {
		game.ball_dy = -1 - ball_velocity; // Vers le haut
	}

	// Limiter la vitesse verticale initiale
	game.ball_dy = Limit_Vertical_Speed(game.ball_dy);

	// Positionner les raquettes
	game.paddle_left_x = 20;  // Position X initiale de la raquette gauche
	game.paddle_left_y = (game.grid_height - game.paddle_left_size) / 2;  // Centrer verticalement

	game.paddle_right_x = game.grid_width - 20 - game.paddle_width;  // Position X initiale de la raquette droite
	game.paddle_right_y = (game.grid_height - game.paddle_right_size) / 2;  // Centrer verticalement

	// Initialiser les variables de boost
	game.player1_button_state = 0;
	game.player1_prev_button_state = 0;
	game.player1_boost_ready = 0;
	game.player1_boost_counter = 0;

	game.player2_button_state = 0;
	game.player2_prev_button_state = 0;
	game.player2_boost_ready = 0;
	game.player2_boost_counter = 0;

	game.boost_window = 10;  // 10 ticks de jeu (environ 300ms à 30Hz)
	game.boost_factor = 150; // 150% de la vitesse normale

	// Par défaut, définir le statut à "none"
	game.status = GAME_STATUS_NONE;

	// Tick
	game.tick = 0;

	// Envoyer les données du jeu à l'IHM
	Send_Game_All_Data();

	// Jouer la mélodie de démarrage
	Play_Sound(game_start_melody, game_start_length);

	// Définir le statut à "running"
	game.status = GAME_STATUS_RUNNING;

	// Allumer la LED du microcontrôleur
	LL_GPIO_SetOutputPin(LD2_GPIO_Port, LD2_Pin);

	// Envoyer les données du jeu à l'IHM avec le nouveau statut
	Send_Game_All_Data();

	// Démarrer la musique de fond en boucle
	Start_Music(background_melody, background_length);
}

/**
 * @brief Met le jeu en pause.
 */
void Pause_Game() {
    game.status = GAME_STATUS_PAUSED;
    LL_GPIO_ResetOutputPin(LD2_GPIO_Port, LD2_Pin);
    Send_Game_All_Data();

    // Mettre en pause la musique de fond
    Stop_Music();

    // Jouer la mélodie de pause
    Play_Sound(pause_melody, pause_length);
}

/**
 * @brief Reprend le jeu après une pause.
 */
void Resume_Game() {
    // Jouer la mélodie de reprise
    Play_Sound(resume_melody, resume_length);

    game.status = GAME_STATUS_RUNNING;
    LL_GPIO_SetOutputPin(LD2_GPIO_Port, LD2_Pin);
    Send_Game_All_Data();

    // Reprendre la musique de fond
    Resume_Music();
}

/**
 * @brief Arrête le jeu.
 */
void Stop_Game() {
    // Réinitialiser la LED
    LL_GPIO_ResetOutputPin(LD2_GPIO_Port, LD2_Pin);

    // Arrêter la musique de fond
    Stop_Music();

    // Changer le statut du jeu
    game.status = GAME_STATUS_FINISHED;

    // Envoyer les données à l'IHM pour actualiser l'affichage
    Send_Game_All_Data();

    // Changer le statut du jeu
    game.status = GAME_STATUS_NONE;
}

/**
 * @brief Met à jour le jeu - appelée périodiquement.
 *
 * Cette fonction est appelée toutes les 33ms environ (30Hz) par le timer système.
 * Elle met à jour la position de la balle, les raquettes, gère les collisions et les scores.
 */
void Update_Game() {
	// Si la partie est en cours
	if (game.status != GAME_STATUS_RUNNING) {
		return;
	}

	// Augmenter le tick
	game.tick++;

	// Si le tick est inférieur à 60, ne pas mettre à jour le jeu (délai de démarrage)
	if (game.tick < 60) {
		return;
	}

    // Mettre à jour l'état des boutons et du boost
    // Sauvegarder l'état précédent des boutons
    game.player1_prev_button_state = game.player1_button_state;
    game.player2_prev_button_state = game.player2_button_state;

    // Lire l'état actuel des boutons
    game.player1_button_state = !LL_GPIO_IsInputPinSet(BUTTON_GPIO, BUTTON_PIN_P1);
    game.player2_button_state = !LL_GPIO_IsInputPinSet(BUTTON_GPIO, BUTTON_PIN_P2);

    // Détecter les appuis sur les boutons (transition de non-appuyé à appuyé)
    if (game.player1_button_state && !game.player1_prev_button_state) {
        game.player1_boost_ready = 1;
        game.player1_boost_counter = 0;
        // Si le boost est prêt, allumer la LED du joueur 1
        Player1_Victory_LED(2, 1, 1, 0); // 2 ticks, clignotement rapide, non infini
    }

    if (game.player2_button_state && !game.player2_prev_button_state) {
        game.player2_boost_ready = 1;
        game.player2_boost_counter = 0;
        // Si le boost est prêt, allumer la LED du joueur 2
        Player2_Victory_LED(2, 1, 1, 0); // 2 ticks, clignotement rapide, non infini
    }

    // Incrémenter les compteurs et désactiver le boost s'il expire
    if (game.player1_boost_ready) {
        game.player1_boost_counter++;
        if (game.player1_boost_counter > game.boost_window) {
            game.player1_boost_ready = 0;
            // Éteindre la LED du joueur 1
            Stop_LED(&led1Player);
        }
    }

    if (game.player2_boost_ready) {
        game.player2_boost_counter++;
        if (game.player2_boost_counter > game.boost_window) {
            game.player2_boost_ready = 0;
            // Éteindre la LED du joueur 2
            Stop_LED(&led2Player);
        }
    }

    // Lire les entrées des joysticks pour les deux joueurs
	uint16_t joystick_y_p1 = Read_ADC_Value(JOYSTICK_ADC, JOYSTICK_Y_CHANNEL_P1);
	uint16_t joystick_y_p2 = Read_ADC_Value(JOYSTICK_ADC, JOYSTICK_Y_CHANNEL_P2);
	uint16_t joystick_x_p1 = Read_ADC_Value(JOYSTICK_ADC, JOYSTICK_X_CHANNEL_P1);
	uint16_t joystick_x_p2 = Read_ADC_Value(JOYSTICK_ADC, JOYSTICK_X_CHANNEL_P2);

    // Convertir les valeurs ADC en mouvements de raquette (ADC renvoie typiquement 0-4095)
    // Si joystick_y > 2048 + seuil, monter la raquette
    // Si joystick_y < 2048 - seuil, descendre la raquette
    const uint16_t threshold = 500; // Zone morte pour éviter des mouvements involontaires

    // Mise à jour de la position Y de la raquette gauche (P1)
    if (joystick_y_p1 > 2048 + threshold) {
        // Monter la raquette (diminuer y)
        if (game.paddle_left_y >= game.paddle_speed) {
            game.paddle_left_y -= game.paddle_speed;
        } else {
            game.paddle_left_y = 0;
        }
    } else if (joystick_y_p1 < 2048 - threshold) {
        // Descendre la raquette (augmenter y)
        if (game.paddle_left_y + game.paddle_left_size + game.paddle_speed <= game.grid_height) {
            game.paddle_left_y += game.paddle_speed;
        } else {
            game.paddle_left_y = game.grid_height - game.paddle_left_size;
        }
    }

    // Mise à jour de la position X de la raquette gauche (P1)
    if (joystick_x_p1 > 2048 + threshold) {
        // Déplacer la raquette vers la droite
        uint16_t max_x = game.left_zone_width - game.paddle_width;
        if (game.paddle_left_x + game.paddle_speed <= max_x) {
            game.paddle_left_x += game.paddle_speed;
        } else {
            game.paddle_left_x = max_x;
        }
    } else if (joystick_x_p1 < 2048 - threshold) {
        // Déplacer la raquette vers la gauche
        if (game.paddle_left_x >= game.paddle_speed) {
            game.paddle_left_x -= game.paddle_speed;
        } else {
            game.paddle_left_x = 0;
        }
    }

    // Mise à jour de la position Y de la raquette droite (P2)
    if (joystick_y_p2 > 2048 + threshold) {
        // Monter la raquette (diminuer y)
        if (game.paddle_right_y >= game.paddle_speed) {
            game.paddle_right_y -= game.paddle_speed;
        } else {
            game.paddle_right_y = 0;
        }
    } else if (joystick_y_p2 < 2048 - threshold) {
        // Descendre la raquette (augmenter y)
        if (game.paddle_right_y + game.paddle_right_size + game.paddle_speed <= game.grid_height) {
            game.paddle_right_y += game.paddle_speed;
        } else {
            game.paddle_right_y = game.grid_height - game.paddle_right_size;
        }
    }

    // Mise à jour de la position X de la raquette droite (P2)
    if (joystick_x_p2 > 2048 + threshold) {
        // Déplacer la raquette vers la droite
        if (game.paddle_right_x + game.paddle_speed <= game.grid_width - 1) {
            game.paddle_right_x += game.paddle_speed;
        } else {
            game.paddle_right_x = game.grid_width - 1;
        }
    } else if (joystick_x_p2 < 2048 - threshold) {
        // Déplacer la raquette vers la gauche
        uint16_t min_x = game.grid_width - game.right_zone_width;
        if (game.paddle_right_x >= min_x + game.paddle_speed) {
            game.paddle_right_x -= game.paddle_speed;
        } else {
            game.paddle_right_x = min_x;
        }
    }

    // Augmenter la vitesse de la balle toutes les 10 secondes (environ 300 ticks à 30Hz)
    if (game.tick % 300 == 0) {
		if (game.ball_dx > 0) {
			game.ball_dx++;
		} else {
			game.ball_dx--;
		}
		if (game.ball_dy > 0) {
			game.ball_dy++;
		} else {
			game.ball_dy--;
		}
	}

    // Limiter la vitesse verticale après l'augmentation périodique
    game.ball_dy = Limit_Vertical_Speed(game.ball_dy);

    // Mise à jour de la position de la balle
    game.ball_x += game.ball_dx;
    game.ball_y += game.ball_dy;

    // Gestion des collisions avec les bords supérieur et inférieur
    if (game.ball_y <= 0 || game.ball_y + game.ball_size >= game.grid_height) {
        game.ball_dy = -game.ball_dy; // Inverser la direction verticale
        // Limiter la vitesse verticale après rebond
        game.ball_dy = Limit_Vertical_Speed(game.ball_dy);
        Play_Sound(hit_sound, hit_length);
    }

    // Gestion des collisions avec les raquettes

    // Collision avec la raquette gauche
    if (game.ball_dx < 0 // La balle se dirige vers la gauche
        && game.ball_x <= game.paddle_left_x + game.paddle_width
        && game.ball_x >= game.paddle_left_x
        && game.ball_y + game.ball_size >= game.paddle_left_y
        && game.ball_y <= game.paddle_left_y + game.paddle_left_size) {

        // Inverser la direction horizontale
        game.ball_dx = -game.ball_dx;

        // Appliquer le boost si activé
        if (game.player1_boost_ready) {
            // Calculer les nouvelles vitesses (augmenter de game.boost_factor %)
            game.ball_dx = (game.ball_dx * game.boost_factor) / 100;

            // S'assurer que la vitesse minimum est maintenue
            if (game.ball_dx > -2) game.ball_dx = -2;

            // Appliquer aussi au mouvement vertical
            game.ball_dy = (game.ball_dy * game.boost_factor) / 100;

            // Limiter la vitesse verticale après le boost
            game.ball_dy = Limit_Vertical_Speed(game.ball_dy);

            // S'assurer que la vitesse verticale minimum est maintenue
            if (game.ball_dy > 0 && game.ball_dy < 1) game.ball_dy = 1;
            if (game.ball_dy < 0 && game.ball_dy > -1) game.ball_dy = -1;

            // Réinitialiser le boost
            game.player1_boost_ready = 0;

            // Jouer le son de boost
            Play_Sound_P1(boost_sound, boost_sound_length);

            // Allumer la LED du joueur 1
            Player1_Victory_LED(4, 1, 1, 0); // 4 ticks, clignotement rapide, non infini
        } else {
            // Son normal de collision
            Play_Sound_P1(hit_sound, hit_length);
        }

        // Repositionner la balle juste après la raquette pour éviter les collisions multiples
        game.ball_x = game.paddle_left_x + game.paddle_width;
    }

    // Collision avec la raquette droite
    if (game.ball_dx > 0 // La balle se dirige vers la droite
        && game.ball_x + game.ball_size >= game.paddle_right_x
        && game.ball_x + game.ball_size <= game.paddle_right_x + game.paddle_width
        && game.ball_y + game.ball_size >= game.paddle_right_y
        && game.ball_y <= game.paddle_right_y + game.paddle_right_size) {

        // Inverser la direction horizontale
        game.ball_dx = -game.ball_dx;

        // Appliquer le boost si activé
        if (game.player2_boost_ready) {
            // Calculer les nouvelles vitesses (augmenter de game.boost_factor %)
            game.ball_dx = (game.ball_dx * game.boost_factor) / 100;

            // S'assurer que la vitesse minimum est maintenue
            if (game.ball_dx < 2) game.ball_dx = 2;

            // Appliquer aussi au mouvement vertical
            game.ball_dy = (game.ball_dy * game.boost_factor) / 100;

            // Limiter la vitesse verticale après le boost
            game.ball_dy = Limit_Vertical_Speed(game.ball_dy);

            // S'assurer que la vitesse verticale minimum est maintenue
            if (game.ball_dy > 0 && game.ball_dy < 1) game.ball_dy = 1;
            if (game.ball_dy < 0 && game.ball_dy > -1) game.ball_dy = -1;

            // Réinitialiser le boost
            game.player2_boost_ready = 0;

            // Jouer le son de boost
            Play_Sound_P2(boost_sound, boost_sound_length);

            // Allumer la LED du joueur 2
            Player2_Victory_LED(4, 1, 1, 0); // 4 ticks, clignotement rapide, non infini
        } else {
            // Son normal de collision
            Play_Sound_P2(hit_sound, hit_length);
        }

        // Repositionner la balle juste avant la raquette pour éviter les collisions multiples
        game.ball_x = game.paddle_right_x - game.ball_size;
    }

    // Gestion des conditions de score
    if (game.ball_x <= 0) {
        // Joueur 2 marque un point
        game.player2_points++;
        Play_Sound_P2(hit_sound, hit_length);

        Player2_Victory_LED(4, 0, 0, 0);

        // Vérifier si le joueur 2 a gagné la partie
        if (game.player2_points >= game.max_points) {
            // Fin de partie, le joueur 2 a gagné
            game.status = GAME_STATUS_FINISHED;

            // Jouer les mélodies de victoire/défaite en même temps sur les deux buzzers respectifs
            Play_Sound_P2(victory_melody, victory_length);
            Play_Sound_P1(defeat_melody, defeat_length);

            Player2_Victory_LED(0, 1, 2, 1); // Durée ignorée, clignotement avec période=2, mode infini

            // Envoyer les données du jeu pour actualiser l'affichage avant de l'arrêter
            Send_Game_Run_Data();

            // Arrêter le jeu sans réinitialisation
            Stop_Game();
            return;
        }

        // Repositionner la balle au centre
        game.ball_x = game.grid_width / 2;
        game.ball_y = game.grid_height / 2;

        // MODIFICATION : Réinitialiser la vitesse de la balle à sa valeur initiale
        // et la diriger vers le joueur 2 qui a marqué
        game.ball_dx = 2 + game.initial_ball_velocity;  // Vers la droite (joueur 2)

        // Réinitialiser aussi la composante verticale avec une direction aléatoire
        uint32_t r = get_random_number_range(0, 2);
        if (r == 0) {
            game.ball_dy = 1 + game.initial_ball_velocity;
        } else if (r == 1) {
            game.ball_dy = 2 + game.initial_ball_velocity;
        } else {
            game.ball_dy = -1 - game.initial_ball_velocity;
        }

        // Limiter la vitesse verticale après le score
        game.ball_dy = Limit_Vertical_Speed(game.ball_dy);
    }
    else if (game.ball_x + game.ball_size >= game.grid_width) {
        // Joueur 1 marque un point
        game.player1_points++;
        Play_Sound_P1(hit_sound, hit_length);

        Player1_Victory_LED(4, 0, 0, 0);

        // Vérifier si le joueur 1 a gagné la partie
        if (game.player1_points >= game.max_points) {
            // Fin de partie, le joueur 1 a gagné
            game.status = GAME_STATUS_FINISHED;

            // Jouer les mélodies de victoire/défaite en même temps sur les deux buzzers respectifs
            Play_Sound_P1(victory_melody, victory_length);
            Play_Sound_P2(defeat_melody, defeat_length);

            Player1_Victory_LED(0, 1, 2, 1); // Durée ignorée, clignotement avec période=2, mode infini

            // Envoyer les données du jeu pour actualiser l'affichage avant de l'arrêter
            Send_Game_Run_Data();

            // Arrêter le jeu sans réinitialisation
            Stop_Game();
            return;
        }

        // Repositionner la balle au centre
        game.ball_x = game.grid_width / 2;
        game.ball_y = game.grid_height / 2;

        // MODIFICATION : Réinitialiser la vitesse de la balle à sa valeur initiale
        // et la diriger vers le joueur 1 qui a marqué
        game.ball_dx = -2 - game.initial_ball_velocity;  // Vers la gauche (joueur 1)

        // Réinitialiser aussi la composante verticale avec une direction aléatoire
        uint32_t r = get_random_number_range(0, 2);
        if (r == 0) {
            game.ball_dy = 1 + game.initial_ball_velocity;
        } else if (r == 1) {
            game.ball_dy = 2 + game.initial_ball_velocity;
        } else {
            game.ball_dy = -1 - game.initial_ball_velocity;
        }

        // Limiter la vitesse verticale après le score
        game.ball_dy = Limit_Vertical_Speed(game.ball_dy);
    }

    // Envoyer les données à l'IHM
    Send_Game_Run_Data();
}

/**
 * @brief Callback pour les données reçues sur l'UART.
 *
 * Cette fonction traite les commandes reçues sur l'UART:
 * - echo: Renvoie le message
 * - game:start: Démarre une partie
 * - game:pause: Met le jeu en pause
 * - game:resume: Reprend le jeu
 * - game:stop: Arrête le jeu
 *
 * @param msg Message reçu
 * @param length Longueur du message
 */
void UART_Callback(char* msg, size_t length) {
    if (strncmp(msg, "echo:", 5) == 0) {
        // Renvoyer le message (pour tester)
        printf("%s\r\n", msg + 5);
    }
    else if (strncmp(msg, "game:start", 10) == 0) {
        // Format mis à jour: game:start:width:height:points:vb:sb:vp:sp:leftzone:rightzone
        // width = grid width, height = grid height, points = points to end the game,
        // vb = ball velocity, sb = ball size, sp = paddle size, vp = paddle velocity
        // leftzone = largeur de la zone gauche, rightzone = largeur de la zone droite
        char* width_pos_str = strchr(msg + 10, ':'); // Skip "game:start:"
        if (width_pos_str) {
            char* height_pos_str = strchr(width_pos_str + 1, ':');
            if (height_pos_str) {
                char* points_pos_str = strchr(height_pos_str + 1, ':');
                if (points_pos_str) {
                    char* vb_pos_str = strchr(points_pos_str + 1, ':');
                    if (vb_pos_str) {
                        char* sb_pos_str = strchr(vb_pos_str + 1, ':');
                        if (sb_pos_str) {
                            char* vp_pos_str = strchr(sb_pos_str + 1, ':');
                            if (vp_pos_str) {
                                char* sp_pos_str = strchr(vp_pos_str + 1, ':');
                                if (sp_pos_str) {
                                    char* leftzone_pos_str = strchr(sp_pos_str + 1, ':');
                                    char* rightzone_pos_str = NULL;

                                    uint16_t grid_width = atoi(width_pos_str + 1);
                                    uint16_t grid_height = atoi(height_pos_str + 1);
                                    uint8_t max_points = atoi(points_pos_str + 1);
                                    uint8_t ball_velocity = atoi(vb_pos_str + 1);
                                    uint8_t ball_size = atoi(sb_pos_str + 1);
                                    uint8_t paddle_velocity = atoi(vp_pos_str + 1);
                                    uint8_t paddle_size = atoi(sp_pos_str + 1);

                                    // Si les zones sont spécifiées, les mettre à jour
                                    if (leftzone_pos_str) {
                                        rightzone_pos_str = strchr(leftzone_pos_str + 1, ':');
                                        game.left_zone_width = atoi(leftzone_pos_str + 1);

                                        if (rightzone_pos_str) {
                                            game.right_zone_width = atoi(rightzone_pos_str + 1);
                                        }
                                    }

                                    // Verify that dimensions are valid
                                    if (grid_width > 50 && grid_height > 50) {
                                        // Assurez-vous que les zones ne sont pas trop grandes
                                        if (game.left_zone_width > grid_width / 2) {
                                            game.left_zone_width = grid_width / 2;
                                        }
                                        if (game.right_zone_width > grid_width / 2) {
                                            game.right_zone_width = grid_width / 2;
                                        }

                                        // Ajuster les positions X des raquettes en fonction des zones
                                        game.paddle_left_x = game.left_zone_width / 2;
                                        game.paddle_right_x = grid_width - game.right_zone_width / 2 - game.paddle_width;

                                        // Démarrer le jeu
                                        Start_Game(grid_width, grid_height, max_points, ball_velocity, ball_size, paddle_velocity, paddle_size);
                                    } else {
                                        printf("Invalid grid dimensions. Minimum size is 50x50.\r\n");
                                    }
                                } else {
                                    printf("Invalid command format. Use: game:start:width:height:points:vb:sb:vp:sp[:leftzone:rightzone]\r\n");
                                }
                            } else {
                                printf("Invalid command format. Use: game:start:width:height:points:vb:sb:vp:sp[:leftzone:rightzone]\r\n");
                            }
                        } else {
                            printf("Invalid command format. Use: game:start:width:height:points:vb:sb:vp:sp[:leftzone:rightzone]\r\n");
                        }
                    } else {
                        printf("Invalid command format. Use: game:start:width:height:points:vb:sb:vp:sp[:leftzone:rightzone]\r\n");
                    }
                } else {
                    printf("Invalid command format. Use: game:start:width:height:points:vb:sb:vp:sp[:leftzone:rightzone]\r\n");
                }
            } else {
                printf("Invalid command format. Use: game:start:width:height:points:vb:sb:vp:sp[:leftzone:rightzone]\r\n");
            }
        } else {
            printf("Invalid command format. Use: game:start:width:height:points:vb:sb:vp:sp[:leftzone:rightzone]\r\n");
        }
    }
	else if (strncmp(msg, "game:pause", 10) == 0) {
		Pause_Game();
	}
	else if (strncmp(msg, "game:resume", 11) == 0) {
		Resume_Game();
	}
	else if (strncmp(msg, "game:stop", 9) == 0) {
	    Stop_Game();
	}
	else {
		printf("Unknown command: %s\r\n", msg);
	}
}

/**
 * @brief Callback pour le bouton bleu de la carte.
 *
 * - Si le jeu n'est pas démarré: démarre une partie
 * - Si le jeu est en cours: met en pause
 * - Si le jeu est en pause: reprend
 */
void Blue_Button_Callback() {
	// Si la partie n'est pas en cours, démarrer la partie
	if (game.status == GAME_STATUS_NONE) {
		Start_Game(400, 250, 5, 1, 3, 5, 6);
	} else if (game.status == GAME_STATUS_RUNNING) {
		Pause_Game();
	} else if (game.status == GAME_STATUS_PAUSED) {
		Resume_Game();
	}
}
/* USER CODE END 0 */

int main(void)
{

  /* MCU Configuration--------------------------------------------------------*/

  /* Reset of all peripherals, Initializes the Flash interface and the Systick. */
  LL_APB2_GRP1_EnableClock(LL_APB2_GRP1_PERIPH_SYSCFG);
  LL_APB1_GRP1_EnableClock(LL_APB1_GRP1_PERIPH_PWR);

  /* Configure the system clock */
  SystemClock_Config();

  /* Initialize all configured peripherals */
  MX_GPIO_Init();
  MX_USART2_UART_Init();
  MX_TIM2_Init();
  MX_ADC_Init();
  MX_TIM22_Init();
  /* USER CODE BEGIN 2 */
  // Configurer l'UART pour la communication série
  LL_USART_EnableIT_RXNE(USART2);

  // Configurer le timer pour les buzzer
  LL_TIM_EnableCounter(TIM2);
  LL_TIM_EnableCounter(TIM22);

  // Configurer l'ADC
  LL_ADC_Enable(ADC1);
  while (!LL_ADC_IsActiveFlag_ADRDY(ADC1)) {
    /* Attente de l'activation de l'ADC */
  }

  // Message de démarrage
  printf("\r\n\r\n---- GESIEA v1.0.0 - STM32 GamePad Initialized ----\r\n");
  printf("Available commands:\r\n");
  printf("  game:start:width:height:points:vb:sb:vp:sp[:leftzone:rightzone] - Start game with parameters:\r\n");
  printf("    width:     grid width\r\n");
  printf("    height:    grid height\r\n");
  printf("    points:    points to end the game\r\n");
  printf("    vb:        ball velocity\r\n");
  printf("    sb:        ball size\r\n");
  printf("    vp:        paddle velocity\r\n");
  printf("    sp:        paddle size\r\n");
  printf("    leftzone:  [optional] width of left player zone\r\n");
  printf("    rightzone: [optional] width of right player zone\r\n");
  printf("  game:pause       - Pause the game\r\n");
  printf("  game:resume      - Resume the game\r\n");
  printf("  game:stop        - Stop the game\r\n");
  printf("  echo:message     - Echo back message\r\n");
  printf("-------------------------------------\r\n\r\n");

  // Activer le timer qui fera les appels réguliers à Update_Game()
  LL_SYSTICK_EnableIT();

  // Jouer la mélodie de démarrage
  Play_Sound(init_melody, init_length);
  /* USER CODE END 2 */

  /* Infinite loop */
  while (1)
  {

  }
}

void SystemClock_Config(void)
{
  LL_FLASH_SetLatency(LL_FLASH_LATENCY_0);
  while(LL_FLASH_GetLatency()!= LL_FLASH_LATENCY_0)
  {
  }
  LL_PWR_SetRegulVoltageScaling(LL_PWR_REGU_VOLTAGE_SCALE1);
  while (LL_PWR_IsActiveFlag_VOS() != 0)
  {
  }
  LL_RCC_HSI_Enable();

   /* Wait till HSI is ready */
  while(LL_RCC_HSI_IsReady() != 1)
  {

  }
  LL_RCC_HSI_SetCalibTrimming(16);
  LL_RCC_SetAHBPrescaler(LL_RCC_SYSCLK_DIV_1);
  LL_RCC_SetAPB1Prescaler(LL_RCC_APB1_DIV_1);
  LL_RCC_SetAPB2Prescaler(LL_RCC_APB2_DIV_1);
  LL_RCC_SetSysClkSource(LL_RCC_SYS_CLKSOURCE_HSI);

   /* Wait till System clock is ready */
  while(LL_RCC_GetSysClkSource() != LL_RCC_SYS_CLKSOURCE_STATUS_HSI)
  {

  }

  LL_Init1msTick(16000000);

  LL_SetSystemCoreClock(16000000);
  LL_RCC_SetUSARTClockSource(LL_RCC_USART2_CLKSOURCE_PCLK1);
}

void Error_Handler(void)
{
  __disable_irq();
  while (1)
  {
  }
}
